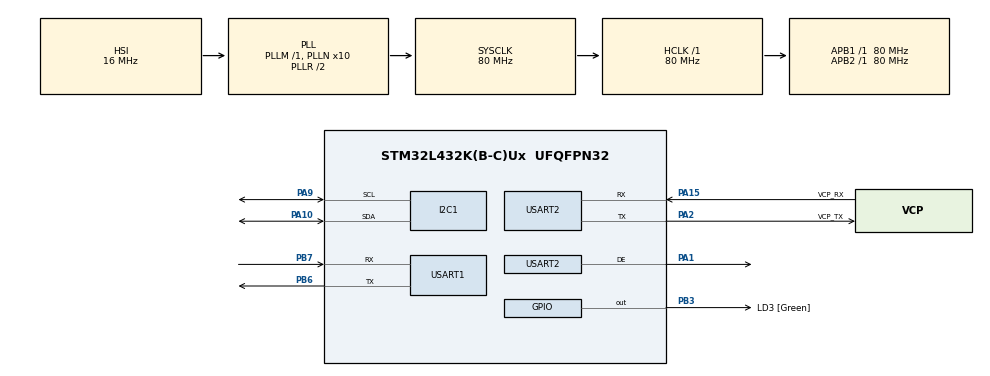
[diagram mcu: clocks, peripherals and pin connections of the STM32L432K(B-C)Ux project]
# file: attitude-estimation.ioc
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I2C1.Timing=0x10909CEC
Mcu.Family=STM32L4
Mcu.Name=STM32L432K(B-C)Ux
Mcu.Package=UFQFPN32
NVIC.PriorityGroup=NVIC_PRIORITYGROUP_4
PA0.GPIO_Label=MCO [High speed clock in]
PA0.Mode=HSE-External-Clock-Source-for-LittleOrca
PA0.Signal=RCC_CK_IN
PA1.Mode=Hardware Flow Control (RS485)
PA1.Signal=USART2_DE
PA10.Mode=I2C
PA10.Signal=I2C1_SDA
PA13\ (JTMS-SWDIO).GPIO_Label=SWDIO
PA13\ (JTMS-SWDIO).Mode=Serial_Wire
PA13\ (JTMS-SWDIO).Signal=SYS_JTMS-SWDIO
PA14\ (JTCK-SWCLK).GPIO_Label=SWCLK
PA14\ (JTCK-SWCLK).Mode=Serial_Wire
PA14\ (JTCK-SWCLK).Signal=SYS_JTCK-SWCLK
PA15\ (JTDI).GPIO_Label=VCP_RX
PA15\ (JTDI).Mode=Asynchronous
PA15\ (JTDI).Signal=USART2_RX
PA2.GPIO_Label=VCP_TX
PA2.Mode=Asynchronous
PA2.Signal=USART2_TX
PA9.Mode=I2C
PA9.Signal=I2C1_SCL
PB3\ (JTDO-TRACESWO).GPIO_Label=LD3 [Green]
PB3\ (JTDO-TRACESWO).Signal=GPIO_Output
PB6.Mode=Asynchronous
PB6.Signal=USART1_TX
PB7.Mode=Asynchronous
PB7.Signal=USART1_RX
PC14-OSC32_IN\ (PC14).Mode=LSE-External-Oscillator
PC14-OSC32_IN\ (PC14).Signal=RCC_OSC32_IN
PC15-OSC32_OUT\ (PC15).Mode=LSE-External-Oscillator
PC15-OSC32_OUT\ (PC15).Signal=RCC_OSC32_OUT
ProjectManager.HeapSize=0x200
ProjectManager.StackSize=0x400
ProjectManager.TargetToolchain=Makefile
RCC.ADCFreq_Value=64000000
RCC.AHBFreq_Value=80000000
RCC.APB1Freq_Value=80000000
RCC.APB1TimFreq_Value=80000000
RCC.APB2Freq_Value=80000000
RCC.APB2TimFreq_Value=80000000
RCC.CortexFreq_Value=80000000
RCC.HCLKFreq_Value=80000000
RCC.HSE_VALUE=8000000
RCC.HSI16_VALUE=16000000
RCC.HSI48_VALUE=48000000
RCC.HSI_VALUE=16000000
RCC.MSI_VALUE=4000000
RCC.PLLMUL=RCC_PLLMUL_4
RCC.PLLN=10
RCC.PLLSourceVirtual=RCC_PLLSOURCE_HSI
RCC.SYSCLKFreq_VALUE=80000000
RCC.SYSCLKSource=RCC_SYSCLKSOURCE_PLLCLK
RCC.USBFreq_Value=64000000
RCC.VCOOutputFreq_Value=160000000
USART1.VirtualMode-Asynchronous=VM_ASYNC
USART2.VirtualMode-Asynchronous=VM_ASYNC
USART2.VirtualMode-Hardware\ Flow\ Control\ (RS485)=VM_ASYNC
board=NUCLEO-L432KC

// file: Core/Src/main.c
/* USER CODE BEGIN Header */
/**
  ******************************************************************************
  * @file           : main.c
  * @brief          : Main program body
  ******************************************************************************
  * @attention
  *
  * Copyright (c) 2023 STMicroelectronics.
  * All rights reserved.
  *
  * This software is licensed under terms that can be found in the LICENSE file
  * in the root directory of this software component.
  * If no LICENSE file comes with this software, it is provided AS-IS.
  *
  ******************************************************************************
  */
/* USER CODE END Header */
#include "main.h"

/* USER CODE BEGIN Includes */
#include "BNO_055_Drivers.h"
#include "ekf.h"

/* USER CODE END Includes */

I2C_HandleTypeDef hi2c1;

UART_HandleTypeDef huart1;
UART_HandleTypeDef huart2;

void SystemClock_Config(void);
static void MX_GPIO_Init(void);
static void MX_I2C1_Init(void);
static void MX_USART2_UART_Init(void);
static void MX_USART1_UART_Init(void);

/* USER CODE BEGIN 0 */
char buf[256] = {'\0'};
FilterCtx_TypeDef ctx;
/* USER CODE END 0 */

int main(void)
{

  /* MCU Configuration--------------------------------------------------------*/

  /* Reset of all peripherals, Initializes the Flash interface and the Systick. */
  HAL_Init();

  /* Configure the system clock */
  SystemClock_Config();

  /* Initialize all configured peripherals */
  MX_GPIO_Init();
  MX_I2C1_Init();
  MX_USART2_UART_Init();
  MX_USART1_UART_Init();
  /* USER CODE BEGIN 2 */
  IMU_TypeDef imu;
  imu.i2c = &hi2c1;
  imu.huart = &huart2;

  ctx.imu = &imu;
  ctx.uart = &huart2;

  HAL_Delay(50);
  bno_055_init(ctx.imu);
  init_filter(&ctx);
  read_imu(&imu);

  sprintf((char *)buf, "waiting to receive\n\r");
  HAL_UART_Transmit(&huart1, &buf, sizeof(buf), HAL_MAX_DELAY);
  HAL_Delay(50);
  /* USER CODE END 2 */

  /* Infinite loop */
  /* USER CODE BEGIN WHILE */
  while (1)
  {

      HAL_UART_Receive(&huart2, buf, 1, HAL_MAX_DELAY);
      HAL_Delay(1);
      /* sprintf((char *)&buf, "hello\n\r"); */
      /* HAL_UART_Transmit(&huart1, buf, sizeof(buf), HAL_MAX_DELAY); */
      filter_runOnce(&ctx, 0.01);
    /* USER CODE END WHILE */

  }
}

void SystemClock_Config(void)
{
  RCC_OscInitTypeDef RCC_OscInitStruct = {0};
  RCC_ClkInitTypeDef RCC_ClkInitStruct = {0};

  /** Configure the main internal regulator output voltage
  */
  if (HAL_PWREx_ControlVoltageScaling(PWR_REGULATOR_VOLTAGE_SCALE1) != HAL_OK)
  {
    Error_Handler();
  }

  /** Initializes the RCC Oscillators according to the specified parameters
  * in the RCC_OscInitTypeDef structure.
  */
  RCC_OscInitStruct.OscillatorType = RCC_OSCILLATORTYPE_HSI;
  RCC_OscInitStruct.HSIState = RCC_HSI_ON;
  RCC_OscInitStruct.HSICalibrationValue = RCC_HSICALIBRATION_DEFAULT;
  RCC_OscInitStruct.PLL.PLLState = RCC_PLL_ON;
  RCC_OscInitStruct.PLL.PLLSource = RCC_PLLSOURCE_HSI;
  RCC_OscInitStruct.PLL.PLLM = 1;
  RCC_OscInitStruct.PLL.PLLN = 10;
  RCC_OscInitStruct.PLL.PLLP = RCC_PLLP_DIV7;
  RCC_OscInitStruct.PLL.PLLQ = RCC_PLLQ_DIV2;
  RCC_OscInitStruct.PLL.PLLR = RCC_PLLR_DIV2;
  if (HAL_RCC_OscConfig(&RCC_OscInitStruct) != HAL_OK)
  {
    Error_Handler();
  }

  /** Initializes the CPU, AHB and APB buses clocks
  */
  RCC_ClkInitStruct.ClockType = RCC_CLOCKTYPE_HCLK|RCC_CLOCKTYPE_SYSCLK
                              |RCC_CLOCKTYPE_PCLK1|RCC_CLOCKTYPE_PCLK2;
  RCC_ClkInitStruct.SYSCLKSource = RCC_SYSCLKSOURCE_PLLCLK;
  RCC_ClkInitStruct.AHBCLKDivider = RCC_SYSCLK_DIV1;
  RCC_ClkInitStruct.APB1CLKDivider = RCC_HCLK_DIV1;
  RCC_ClkInitStruct.APB2CLKDivider = RCC_HCLK_DIV1;

  if (HAL_RCC_ClockConfig(&RCC_ClkInitStruct, FLASH_LATENCY_4) != HAL_OK)
  {
    Error_Handler();
  }
}

static void MX_I2C1_Init(void)
{

  hi2c1.Instance = I2C1;
  hi2c1.Init.Timing = 0x10909CEC;
  hi2c1.Init.OwnAddress1 = 0;
  hi2c1.Init.AddressingMode = I2C_ADDRESSINGMODE_7BIT;
  hi2c1.Init.DualAddressMode = I2C_DUALADDRESS_DISABLE;
  hi2c1.Init.OwnAddress2 = 0;
  hi2c1.Init.OwnAddress2Masks = I2C_OA2_NOMASK;
  hi2c1.Init.GeneralCallMode = I2C_GENERALCALL_DISABLE;
  hi2c1.Init.NoStretchMode = I2C_NOSTRETCH_DISABLE;
  if (HAL_I2C_Init(&hi2c1) != HAL_OK)
  {
    Error_Handler();
  }

  /** Configure Analogue filter
  */
  if (HAL_I2CEx_ConfigAnalogFilter(&hi2c1, I2C_ANALOGFILTER_ENABLE) != HAL_OK)
  {
    Error_Handler();
  }

  /** Configure Digital filter
  */
  if (HAL_I2CEx_ConfigDigitalFilter(&hi2c1, 0) != HAL_OK)
  {
    Error_Handler();
  }

}

static void MX_USART1_UART_Init(void)
{

  huart1.Instance = USART1;
  huart1.Init.BaudRate = 115200;
  huart1.Init.WordLength = UART_WORDLENGTH_8B;
  huart1.Init.StopBits = UART_STOPBITS_1;
  huart1.Init.Parity = UART_PARITY_NONE;
  huart1.Init.Mode = UART_MODE_TX_RX;
  huart1.Init.HwFlowCtl = UART_HWCONTROL_NONE;
  huart1.Init.OverSampling = UART_OVERSAMPLING_16;
  huart1.Init.OneBitSampling = UART_ONE_BIT_SAMPLE_DISABLE;
  huart1.AdvancedInit.AdvFeatureInit = UART_ADVFEATURE_NO_INIT;
  if (HAL_UART_Init(&huart1) != HAL_OK)
  {
    Error_Handler();
  }

}

static void MX_USART2_UART_Init(void)
{

  huart2.Instance = USART2;
  huart2.Init.BaudRate = 115200;
  huart2.Init.WordLength = UART_WORDLENGTH_8B;
  huart2.Init.StopBits = UART_STOPBITS_1;
  huart2.Init.Parity = UART_PARITY_NONE;
  huart2.Init.Mode = UART_MODE_TX_RX;
  huart2.Init.HwFlowCtl = UART_HWCONTROL_NONE;
  huart2.Init.OverSampling = UART_OVERSAMPLING_16;
  huart2.Init.OneBitSampling = UART_ONE_BIT_SAMPLE_DISABLE;
  huart2.AdvancedInit.AdvFeatureInit = UART_ADVFEATURE_NO_INIT;
  if (HAL_RS485Ex_Init(&huart2, UART_DE_POLARITY_HIGH, 0, 0) != HAL_OK)
  {
    Error_Handler();
  }

}

static void MX_GPIO_Init(void)
{
  GPIO_InitTypeDef GPIO_InitStruct = {0};

  /* GPIO Ports Clock Enable */
  __HAL_RCC_GPIOC_CLK_ENABLE();
  __HAL_RCC_GPIOA_CLK_ENABLE();
  __HAL_RCC_GPIOB_CLK_ENABLE();

  /*Configure GPIO pin Output Level */
  HAL_GPIO_WritePin(LD3_GPIO_Port, LD3_Pin, GPIO_PIN_RESET);

  /*Configure GPIO pin : LD3_Pin */
  GPIO_InitStruct.Pin = LD3_Pin;
  GPIO_InitStruct.Mode = GPIO_MODE_OUTPUT_PP;
  GPIO_InitStruct.Pull = GPIO_NOPULL;
  GPIO_InitStruct.Speed = GPIO_SPEED_FREQ_LOW;
  HAL_GPIO_Init(LD3_GPIO_Port, &GPIO_InitStruct);

}

void Error_Handler(void)
{
  __disable_irq();
  while (1)
  {
  }
}
